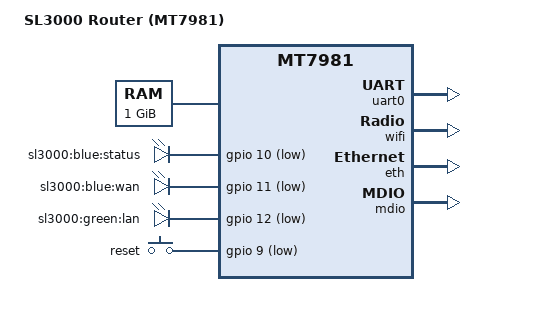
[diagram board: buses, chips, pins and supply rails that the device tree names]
/dts-v1/;

/include/ "mt7981.dtsi"

/ {
    model = "SL3000 Router (MT7981)";
    compatible = "sl,sl3000", "mediatek,mt7981";

    aliases {
        serial0 = &uart0;
    };

    chosen {
        stdout-path = "serial0:115200n8";
    };

    memory@40000000 {
        device_type = "memory";
        reg = <0x40000000 0x40000000>; /* 1GB */
    };

    leds {
        compatible = "gpio-leds";

        status {
            label = "sl3000:blue:status";
            gpios = <&gpio 10 GPIO_ACTIVE_LOW>;
        };

        wan {
            label = "sl3000:blue:wan";
            gpios = <&gpio 11 GPIO_ACTIVE_LOW>;
        };

        lan {
            label = "sl3000:green:lan";
            gpios = <&gpio 12 GPIO_ACTIVE_LOW>;
        };
    };

    keys {
        compatible = "gpio-keys";

        reset {
            label = "reset";
            linux,code = <KEY_RESTART>;
            gpios = <&gpio 9 GPIO_ACTIVE_LOW>;
        };
    };
};

/* UART */
&uart0 {
    status = "okay";
};

/* WiFi */
&wifi {
    status = "okay";
    mediatek,mtd-eeprom = <&factory 0x0>;
};

/* Ethernet */
&eth {
    status = "okay";
};

&mdio {
    status = "okay";
};

/* ✅ USB 全部移除，不启用 USB PHY、不启用 xHCI */
/* 以下节点不再出现：
   &usb_phy
   &xhci
*/
